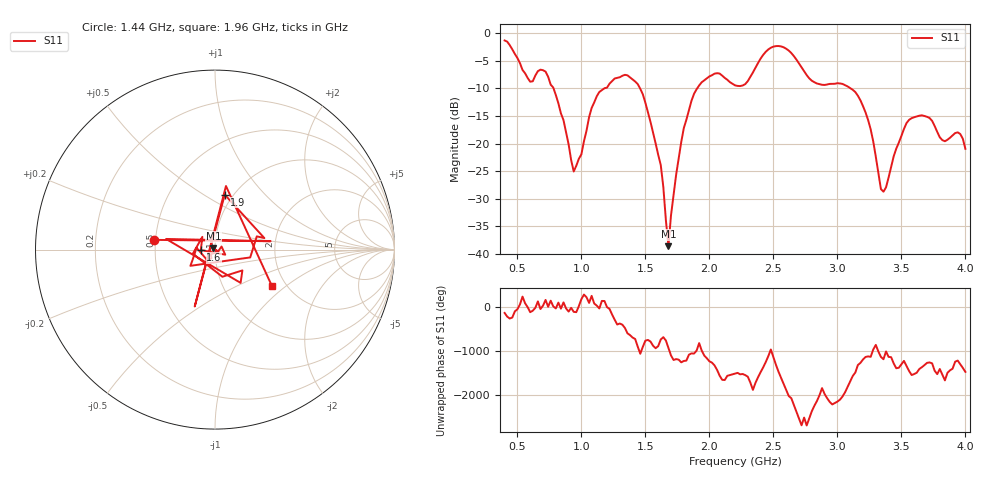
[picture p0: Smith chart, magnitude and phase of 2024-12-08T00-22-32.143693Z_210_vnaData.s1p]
!Created with skrf (http://scikit-rf.org).
# Hz S RI R 50.0
!freq ReS11 ImS11
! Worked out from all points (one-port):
!   181 points, 400 MHz to 4 GHz, reference 50 ohm
!   lowest |S11| = -38.6 dB at 1.68 GHz (marker M1), VSWR 1.02, Z = 49.1 + j0.786 ohm
!   |S11| at or under -10 dB: 782.3 MHz to 1.179 GHz (396.2 MHz wide, 40.4 % of centre); 1.458 GHz to 1.904 GHz (446.1 MHz wide, 26.5 % of centre); 3.104 GHz to end of sweep
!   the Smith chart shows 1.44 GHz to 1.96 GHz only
!   S11 on the Smith chart (normalised r, x): 1.44 GHz: 0.49, +0.06; 1.6 GHz: 0.85, -0.00; 1.9 GHz: 0.91, +0.62; 1.96 GHz: 1.69, -0.79
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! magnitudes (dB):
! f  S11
! 400 MHz  -1.3
! 600 MHz  -8.8
! 720 MHz  -7.0
! 860 MHz  -15.8
! 940 MHz  -25.1
! 1.12 GHz  -11.4
! 1.3 GHz  -8.0
! 1.44 GHz  -9.2
! 1.6 GHz  -22.0
! 1.64 GHz  -27.9
! 1.68 GHz  -38.6
! 1.76 GHz  -22.7
! 1.8 GHz  -17.2
! 1.9 GHz  -10.1
! 1.96 GHz  -8.5
! 2.2 GHz  -9.4
! 2.28 GHz  -9.2
! 2.48 GHz  -2.6
! 2.66 GHz  -4.1
! 2.82 GHz  -8.9
! 3.1 GHz  -9.9
! 3.24 GHz  -15.7
! 3.36 GHz  -28.7
! 3.56 GHz  -15.7
! 3.72 GHz  -15.4
! 3.84 GHz  -19.6
! 3.94 GHz  -18.0
! 4 GHz  -21.0
